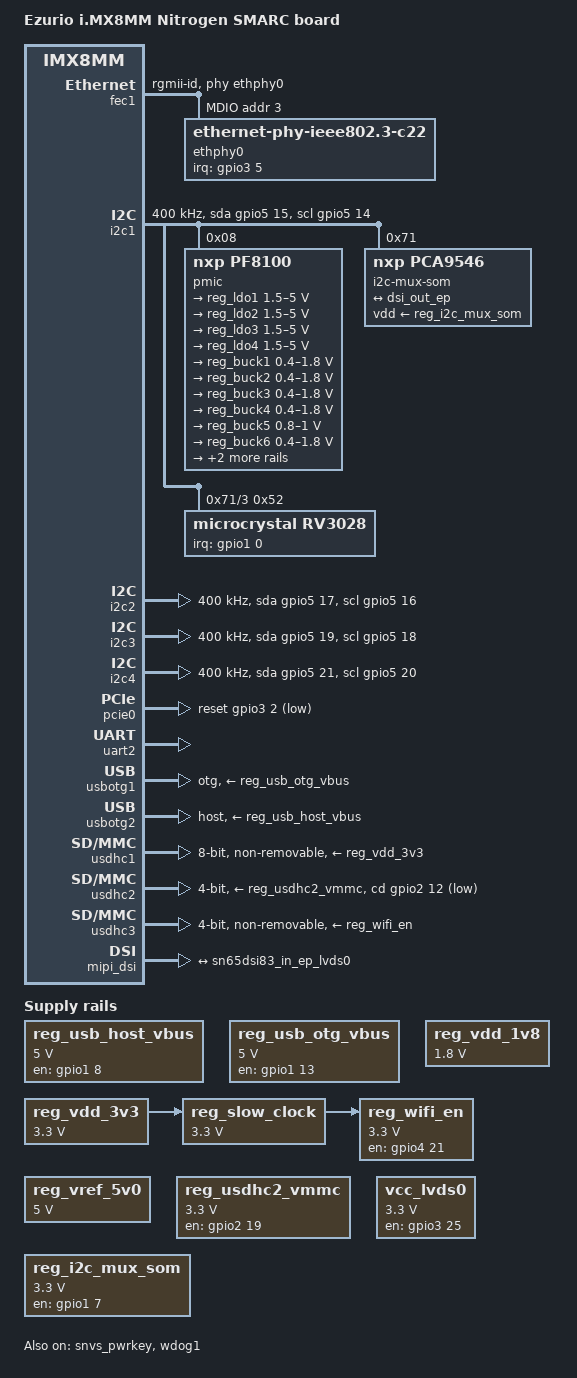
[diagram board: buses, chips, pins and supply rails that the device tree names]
// SPDX-License-Identifier: (GPL-2.0+ OR MIT)
/*
 * Copyright 2023 Ezurio LLC
 */

#include <dt-bindings/phy/phy-imx8-pcie.h>
#include <dt-bindings/usb/pd.h>
#include "imx8mm.dtsi"

/ {
	model = "Ezurio i.MX8MM Nitrogen SMARC board";
	compatible = "summit,imx8mm-nitrogen-smarc", "fsl,imx8mm";

	aliases {
		rtc0 = &rv3028;
		rtc1 = &snvs_rtc;
	};

	chosen {
		stdout-path = "serial1:115200n8";
	};

	reserved-memory {
		#address-cells = <2>;
		#size-cells = <2>;
		ranges;

		linux_cma: linux,cma {
			compatible = "shared-dma-pool";
			reusable;
			alloc-ranges = <0 0x40000000 0 0x80000000>, <1 0 0 0x80000000>;
			size = <0 0x20000000>;
			linux,cma-default;
		};
	};

	reg_usb_host_vbus: regulator-usb-host-vbus {
		compatible = "regulator-fixed";
		pinctrl-names = "default";
		pinctrl-0 = <&pinctrl_reg_usbhost_vbus>;
		regulator-name = "usb_host_vbus";
		regulator-min-microvolt = <5000000>;
		regulator-max-microvolt = <5000000>;
		gpio = <&gpio1 8 GPIO_ACTIVE_HIGH>;
		enable-active-high;
	};

	reg_usb_otg_vbus: regulator-usb-otg-vbus {
		compatible = "regulator-fixed";
		pinctrl-names = "default";
		pinctrl-0 = <&pinctrl_reg_usbotg_vbus>;
		regulator-name = "usb_otg_vbus";
		regulator-min-microvolt = <5000000>;
		regulator-max-microvolt = <5000000>;
		gpio = <&gpio1 13 GPIO_ACTIVE_HIGH>;
		enable-active-high;
	};

	reg_vdd_1v8: regulator-vref-1v8 {
		compatible = "regulator-fixed";
		regulator-name = "vref-1v8";
		regulator-min-microvolt = <1800000>;
		regulator-max-microvolt = <1800000>;
	};

	reg_vdd_3v3: regulator-vref-3v3 {
		compatible = "regulator-fixed";
		regulator-name = "vref-3v3";
		regulator-min-microvolt = <3300000>;
		regulator-max-microvolt = <3300000>;
	};

	reg_vref_5v0: regulator-vref-5v0 {
		compatible = "regulator-fixed";
		regulator-name = "vref-5v0";
		regulator-min-microvolt = <5000000>;
		regulator-max-microvolt = <5000000>;
	};

	reg_usdhc2_vmmc: regulator-usdhc2-vmmc {
		compatible = "regulator-fixed";

		regulator-name = "reg_usdhc2_vmmc";
		regulator-min-microvolt = <3300000>;
		regulator-max-microvolt = <3300000>;

		pinctrl-names = "default";
		pinctrl-0 = <&pinctrl_reg_usdhc2_vmmc>;
		gpio = <&gpio2 19 GPIO_ACTIVE_HIGH>;
		enable-active-high;
	};

	reg_slow_clock: regulator-slow-clock {
		compatible = "regulator-fixed-clock";

		regulator-name = "reg_slow_clock";
		regulator-min-microvolt = <3300000>;
		regulator-max-microvolt = <3300000>;

		vin-supply = <&reg_vdd_3v3>;
		clocks = <&rv3028>;

		pinctrl-names = "rev2";
		pinctrl-0 = <&pinctrl_slow_clock_rev2>;

		startup-delay-us = <1000>;
	};

	reg_wifi_en: regulator-wifi-en {
		compatible = "regulator-fixed";

		regulator-name = "reg_wifi_en";
		regulator-min-microvolt = <3300000>;
		regulator-max-microvolt = <3300000>;

		vin-supply = <&reg_slow_clock>;

		pinctrl-names = "default";
		pinctrl-0 = <&pinctrl_reg_wifi_en>;
		gpio = <&gpio4 21 GPIO_ACTIVE_HIGH>;
		enable-active-high;
	};

	vcc_lvds0: regulator-vcc-lvds0 {
		compatible = "regulator-fixed";
		regulator-name = "vcc_lvds0";
		regulator-min-microvolt = <3300000>;
		regulator-max-microvolt = <3300000>;

		pinctrl-names = "default";
		pinctrl-0 = <&pinctrl_vcc_lvds0>;
		gpios = <&gpio3 25 GPIO_ACTIVE_HIGH>;
		enable-active-high;

		// This delay need to account for DSI clock startup time
		// SN65DSI84 enables PLL on enable phase and waits for it to lock on 
		// DSI clock, but this clock just started a moment ago, so it is not 
		// yet stable, as such PLL cannot lock on it.
		startup-delay-us = <100000>;
	};

	reg_i2c_mux_som: regulator-i2c-mux-som {
		compatible = "regulator-fixed";

		regulator-name = "reg_i2c_mux_som";
		regulator-min-microvolt = <3300000>;
		regulator-max-microvolt = <3300000>;

		pinctrl-names = "default";
		pinctrl-0 = <&pinctrl_i2c_mux_som>;
		gpio = <&gpio1 7 GPIO_ACTIVE_HIGH>;
		enable-active-high;
	};

	display-subsystem {
		status = "disabled";
	};
};

&A53_0 {
	cpu-supply = <&reg_buck2>;
};

&A53_1 {
	cpu-supply = <&reg_buck2>;
};

&A53_2 {
	cpu-supply = <&reg_buck2>;
};

&A53_3 {
	cpu-supply = <&reg_buck2>;
};

&fec1 {
	pinctrl-names = "default";
	pinctrl-0 = <&pinctrl_fec1>;

	phy-mode = "rgmii-id";
	phy-handle = <&ethphy0>;

	status = "okay";

	mdio {
		#address-cells = <1>;
		#size-cells = <0>;

		reset-gpios = <&gpio3 15 GPIO_ACTIVE_LOW>;
		reset-delay-us = <150000>;
		reset-post-delay-us = <100>;

		ethphy0: ethernet-phy@3 {
			reg = <3>;
			compatible = "ethernet-phy-ieee802.3-c22";
			interrupts-extended = <&gpio3 5 IRQ_TYPE_LEVEL_LOW>;
		};
	};
};

&ecspi2 {
	pinctrl-names = "default";
	pinctrl-0 = <&pinctrl_ecspi2>;
	cs-gpios = <&gpio5 13 GPIO_ACTIVE_LOW>, <&gpio5 3 GPIO_ACTIVE_LOW>;

	#address-cells = <1>;
	#size-cells = <0>;
};

&flexspi {
	pinctrl-names = "default";
	pinctrl-0 = <&pinctrl_flexspi>;
	cs-gpios = <&gpio3 1 GPIO_ACTIVE_LOW>, <&gpio1 6 GPIO_ACTIVE_LOW>;

	#address-cells = <1>;
	#size-cells = <0>;
};

&i2c1 {
	pinctrl-names = "default", "gpio";
	pinctrl-0 = <&pinctrl_i2c1>;
	pinctrl-1 = <&pinctrl_i2c1_1>;
	scl-gpios = <&gpio5 14 GPIO_OPEN_DRAIN>;
	sda-gpios = <&gpio5 15 GPIO_OPEN_DRAIN>;

	clock-frequency = <400000>;
	status = "okay";

	pmic@8 {
		compatible = "nxp,pf8100";
		pinctrl-names = "default";
		pinctrl-0 = <&pinctrl_pmic>;
		reg = <0x08>;

		regulators {
			reg_ldo1: ldo1 {
				regulator-always-on;
				regulator-boot-on;
				regulator-max-microvolt = <5000000>;
				regulator-min-microvolt = <1500000>;
			};

			reg_ldo2: ldo2 {
				regulator-always-on;
				regulator-boot-on;
				regulator-max-microvolt = <5000000>;
				regulator-min-microvolt = <1500000>;
				/* vselect low is 3.3V, high is 1.8V */
			};

			reg_ldo3: ldo3 {
				regulator-max-microvolt = <5000000>;
				regulator-min-microvolt = <1500000>;
			};

			reg_ldo4: ldo4 {
				regulator-always-on;
				regulator-boot-on;
				regulator-max-microvolt = <5000000>;
				regulator-min-microvolt = <1500000>;
			};

			reg_buck1: buck1 {
				regulator-always-on;
				regulator-boot-on;
				regulator-max-microvolt = <1800000>;
				regulator-min-microvolt =  <400000>;
			};

			reg_buck2: buck2 {
				regulator-always-on;
				regulator-boot-on;
				regulator-max-microvolt = <1800000>;
				regulator-min-microvolt =  <400000>;
			};

			reg_buck3: buck3 {
				regulator-always-on;
				regulator-boot-on;
				regulator-max-microvolt = <1800000>;
				regulator-min-microvolt =  <400000>;
			};

			reg_buck4: buck4 {
				regulator-max-microvolt = <1800000>;
				regulator-min-microvolt =  <400000>;
			};

			reg_buck5: buck5 {
				regulator-always-on;
				regulator-boot-on;
				regulator-max-microvolt = <1000000>;
				regulator-min-microvolt =  <800000>;
			};

			reg_buck6: buck6 {
				regulator-always-on;
				regulator-boot-on;
				regulator-max-microvolt = <1800000>;
				regulator-min-microvolt =  <400000>;
			};

			reg_buck7: buck7 {
				regulator-always-on;
				regulator-boot-on;
				regulator-max-microvolt = <4100000>;
				regulator-min-microvolt = <1000000>;
			};

			reg_vsnvs: vsnvs {
				regulator-always-on;
				regulator-boot-on;
				regulator-max-microvolt = <3300000>;
				regulator-min-microvolt = <1800000>;
			};
		};
	};

	i2c-mux-som@71 {
		compatible = "nxp,pca9546";
		reg = <0x71>;

		vdd-supply = <&reg_i2c_mux_som>;

		#address-cells = <1>;
		#size-cells = <0>;

		i2c1a: i2c1@0 {
			/* I2C_CSI0 */
			reg = <0>;

			#address-cells = <1>;
			#size-cells = <0>;
		};

		i2c1b: i2c1@1 {
			/* I2C_LCD */
			reg = <1>;

			#address-cells = <1>;
			#size-cells = <0>;
		};

		i2c1c: i2c1@2 {
			reg = <2>;

			#address-cells = <1>;
			#size-cells = <0>;

			sn65dsi83_lvds0: sn65dsi83-lvds0@2c {
				compatible = "ti,sn65dsi83";
				reg = <0x2c>;

				vcc-supply = <&vcc_lvds0>;

				//pinctrl-names = "default";
				//pinctrl-0 = <&pinctrl_sn65dsi83_irq>;
				//interrupts-extended = <&gpio3 20 IRQ_TYPE_LEVEL_LOW>;
				//interrupt-names = "irq";

				status = "disabled";

				ports {
					#address-cells = <1>;
					#size-cells = <0>;

					port@0 {
						reg = <0>;

						sn65dsi83_in_ep_lvds0: endpoint {
							remote-endpoint = <&dsi_out_ep>;
							clock-lanes = <0>;
							data-lanes = <1 2 3 4>;
						};
					};

					port@2 {
						reg = <2>;

						sn65dsi83_out_ep_lvds0: endpoint {
						};
					};
				};
			};
		};

		i2c1d: i2c1@3 {
			/* RTC_SOM */
			reg = <3>;

			#address-cells = <1>;
			#size-cells = <0>;

			rv3028: rv3028@52 {
				compatible = "microcrystal,rv3028";
				reg = <0x52>;

				backup-switchover-dsm;
				#clock-cells = <0>;

				pinctrl-names = "default";
				pinctrl-0 = <&pinctrl_rv3028>;
				interrupts-extended = <&gpio1 0 IRQ_TYPE_LEVEL_LOW>;
				wakeup-source;
			};
		};
	};
};

/* I2C_CAM1 */
&i2c2 {
	pinctrl-names = "default", "gpio";
	pinctrl-0 = <&pinctrl_i2c2>;
	pinctrl-1 = <&pinctrl_i2c2_1>;
	scl-gpios = <&gpio5 16 GPIO_OPEN_DRAIN>;
	sda-gpios = <&gpio5 17 GPIO_OPEN_DRAIN>;

	clock-frequency = <400000>;
};

/* I2C_GP */
&i2c3 {
	pinctrl-names = "default", "gpio";
	pinctrl-0 = <&pinctrl_i2c3>;
	pinctrl-1 = <&pinctrl_i2c3_1>;
	scl-gpios = <&gpio5 18 GPIO_OPEN_DRAIN>;
	sda-gpios = <&gpio5 19 GPIO_OPEN_DRAIN>;

	clock-frequency = <400000>;
};

/* I2C_PM */
&i2c4 {
	pinctrl-names = "default", "gpio";
	pinctrl-0 = <&pinctrl_i2c4>;
	pinctrl-1 = <&pinctrl_i2c4_1>;
	scl-gpios = <&gpio5 20 GPIO_OPEN_DRAIN>;
	sda-gpios = <&gpio5 21 GPIO_OPEN_DRAIN>;

	clock-frequency = <400000>;
};

&iomuxc {
	pinctrl_ecspi2: ecspi2grp {
		fsl,pins = <
			MX8MM_IOMUXC_SPDIF_TX_GPIO5_IO3		0x140
			MX8MM_IOMUXC_ECSPI2_SS0_GPIO5_IO13	0x140
			MX8MM_IOMUXC_ECSPI2_MISO_ECSPI2_MISO	0x82
			MX8MM_IOMUXC_ECSPI2_SCLK_ECSPI2_SCLK	0x82
			MX8MM_IOMUXC_ECSPI2_MOSI_ECSPI2_MOSI	0x82
		>;
	};

	pinctrl_fec1: fec1grp {
		fsl,pins = <
			MX8MM_IOMUXC_ENET_MDC_ENET1_MDC		0x00
			MX8MM_IOMUXC_ENET_MDIO_ENET1_MDIO	0x00
			MX8MM_IOMUXC_ENET_RD0_ENET1_RGMII_RD0	0x91
			MX8MM_IOMUXC_ENET_RD1_ENET1_RGMII_RD1	0x91
			MX8MM_IOMUXC_ENET_RD2_ENET1_RGMII_RD2	0x91
			MX8MM_IOMUXC_ENET_RD3_ENET1_RGMII_RD3	0x91
			MX8MM_IOMUXC_ENET_RXC_ENET1_RGMII_RXC	0x91
			MX8MM_IOMUXC_ENET_RX_CTL_ENET1_RGMII_RX_CTL	0x91
			MX8MM_IOMUXC_ENET_TD0_ENET1_RGMII_TD0	0x10
			MX8MM_IOMUXC_ENET_TD1_ENET1_RGMII_TD1	0x10
			MX8MM_IOMUXC_ENET_TD2_ENET1_RGMII_TD2	0x10
			MX8MM_IOMUXC_ENET_TD3_ENET1_RGMII_TD3	0x10
			MX8MM_IOMUXC_ENET_TXC_ENET1_RGMII_TXC	0x12
			MX8MM_IOMUXC_ENET_TX_CTL_ENET1_RGMII_TX_CTL	0x10
			MX8MM_IOMUXC_NAND_RE_B_GPIO3_IO15	0x159
			MX8MM_IOMUXC_NAND_CLE_GPIO3_IO5		0x1c0
		>;
	};

	pinctrl_flexspi: flexspigrp {
		fsl,pins = <
			MX8MM_IOMUXC_GPIO1_IO06_GPIO1_IO6	0x140
			MX8MM_IOMUXC_NAND_CE0_B_GPIO3_IO1	0x140
			MX8MM_IOMUXC_NAND_DATA00_QSPI_A_DATA0	0x82
			MX8MM_IOMUXC_NAND_DATA01_QSPI_A_DATA1	0x82
			MX8MM_IOMUXC_NAND_DATA02_QSPI_A_DATA2	0x82
			MX8MM_IOMUXC_NAND_DATA03_QSPI_A_DATA3	0x82
			MX8MM_IOMUXC_NAND_ALE_QSPI_A_SCLK	0x82
			MX8MM_IOMUXC_NAND_DATA02_QSPI_A_DATA2	0x82
		>;
	};

	pinctrl_i2c1: i2c1grp {
		fsl,pins = <
			MX8MM_IOMUXC_I2C1_SCL_I2C1_SCL	0x400001c3
			MX8MM_IOMUXC_I2C1_SDA_I2C1_SDA	0x400001c3
		>;
	};

	pinctrl_i2c1_1: i2c1-1grp {
		fsl,pins = <
			MX8MM_IOMUXC_I2C1_SCL_GPIO5_IO14	0x1c3
			MX8MM_IOMUXC_I2C1_SDA_GPIO5_IO15	0x1c3
		>;
	};

	pinctrl_pmic: pmicgrp {
		fsl,pins = <
			MX8MM_IOMUXC_NAND_CE2_B_GPIO3_IO3	0x149
			MX8MM_IOMUXC_NAND_CE3_B_GPIO3_IO4	0x149
		>;
	};

	pinctrl_i2c_mux_som: i2c-mux-somgrp {
		fsl,pins = <
			MX8MM_IOMUXC_GPIO1_IO07_GPIO1_IO7	0x100
		>;
	};

	pinctrl_i2c2: i2c2grp {
		fsl,pins = <
			MX8MM_IOMUXC_I2C2_SCL_I2C2_SCL		0x400001c3
			MX8MM_IOMUXC_I2C2_SDA_I2C2_SDA		0x400001c3
		>;
	};

	pinctrl_i2c2_1: i2c2-1grp {
		fsl,pins = <
			MX8MM_IOMUXC_I2C2_SCL_GPIO5_IO16	0x400001c3
			MX8MM_IOMUXC_I2C2_SDA_GPIO5_IO17	0x400001c3
		>;
	};

	pinctrl_i2c3: i2c3grp {
		fsl,pins = <
			MX8MM_IOMUXC_I2C3_SCL_I2C3_SCL		0x400001c3
			MX8MM_IOMUXC_I2C3_SDA_I2C3_SDA		0x400001c3
		>;
	};

	pinctrl_i2c3_1: i2c3-1grp {
		fsl,pins = <
			MX8MM_IOMUXC_I2C3_SCL_GPIO5_IO18	0x400001c3
			MX8MM_IOMUXC_I2C3_SDA_GPIO5_IO19	0x400001c3
		>;
	};

	pinctrl_i2c4: i2c4grp {
		fsl,pins = <
			MX8MM_IOMUXC_I2C4_SCL_I2C4_SCL		0x400001c3
			MX8MM_IOMUXC_I2C4_SDA_I2C4_SDA		0x400001c3
		>;
	};

	pinctrl_i2c4_1: i2c4-1grp {
		fsl,pins = <
			MX8MM_IOMUXC_I2C4_SCL_GPIO5_IO20	0x400001c3
			MX8MM_IOMUXC_I2C4_SDA_GPIO5_IO21	0x400001c3
		>;
	};

	pinctrl_lvds0_backlight: pinctrl-lvds0-backlight-grp {
		fsl,pins = <
			MX8MM_IOMUXC_GPIO1_IO01_GPIO1_IO1	0x140
		>;
	};

	pinctrl_vcc_lvds0: vcc-lvds0grp {
		fsl,pins = <
			MX8MM_IOMUXC_SAI5_MCLK_GPIO3_IO25	0x100
		>;
	};

	pinctrl_sn65dsi83_irq: sn65dsi83-irqgrp {
		fsl,pins = <
			MX8MM_IOMUXC_SAI5_RXC_GPIO3_IO20	0x1c0
		>;
	};

	pinctrl_pcie0: pcie0grp {
		fsl,pins = <
			MX8MM_IOMUXC_NAND_CE1_B_GPIO3_IO2	0x100
			MX8MM_IOMUXC_SAI1_MCLK_GPIO4_IO20	0x140
			MX8MM_IOMUXC_SAI3_RXC_GPIO4_IO29	0x140
		>;
	};

	pinctrl_pwm1: pwm1grp {
		fsl,pins = <
			MX8MM_IOMUXC_SPDIF_EXT_CLK_PWM1_OUT	0x16
		>;
	};

	pinctrl_reg_usbotg_vbus: usbotg-vbusgrp {
		fsl,pins = <
			MX8MM_IOMUXC_GPIO1_IO13_GPIO1_IO13	0x140
		>;
	};

	pinctrl_reg_usbhost_vbus: usbhost-vbusgrp {
		fsl,pins = <
			MX8MM_IOMUXC_GPIO1_IO08_GPIO1_IO8	0x140
		>;
	};

	pinctrl_reg_wifi_en: reg-wifi-engrp {
		fsl,pins = <
			MX8MM_IOMUXC_SAI2_RXFS_GPIO4_IO21	0x100
		>;
	};

	pinctrl_sai1: sai1grp {
		fsl,pins = <
			MX8MM_IOMUXC_SAI1_TXFS_SAI1_TX_SYNC	0xd6
			MX8MM_IOMUXC_SAI1_TXC_SAI1_TX_BCLK	0xd6
			MX8MM_IOMUXC_SAI1_TXD0_SAI1_TX_DATA0	0xd6
			MX8MM_IOMUXC_SAI1_RXD0_SAI1_RX_DATA0	0xd6
		>;
	};

	pinctrl_sai2: sai2grp {
		fsl,pins = <
			MX8MM_IOMUXC_SAI2_MCLK_SAI2_MCLK	0xd6
			MX8MM_IOMUXC_SAI2_TXFS_SAI2_TX_SYNC	0xd6
			MX8MM_IOMUXC_SAI2_TXC_SAI2_TX_BCLK	0xd6
			MX8MM_IOMUXC_SAI2_TXD0_SAI2_TX_DATA0	0xd6
			MX8MM_IOMUXC_SAI2_RXD0_SAI2_RX_DATA0	0xd6
		>;
	};

	pinctrl_sai3: sai3grp {
		fsl,pins = <
			MX8MM_IOMUXC_SAI3_TXFS_SAI3_TX_SYNC	0xd6
			MX8MM_IOMUXC_SAI3_TXC_SAI3_TX_BCLK	0xd6
			MX8MM_IOMUXC_SAI3_TXD_SAI3_TX_DATA0	0xd6
			MX8MM_IOMUXC_SAI3_RXD_SAI3_RX_DATA0	0xd6
		>;
	};

	pinctrl_uart1: uart1grp {
		fsl,pins = <
			MX8MM_IOMUXC_UART1_RXD_UART1_DCE_RX	0x140
			MX8MM_IOMUXC_UART1_TXD_UART1_DCE_TX	0x140
			MX8MM_IOMUXC_UART3_RXD_UART1_DCE_CTS_B	0x140
			MX8MM_IOMUXC_UART3_TXD_UART1_DCE_RTS_B	0x140
		>;
	};

	pinctrl_uart2: uart2grp {
		fsl,pins = <
			MX8MM_IOMUXC_UART2_RXD_UART2_DCE_RX	0x140
			MX8MM_IOMUXC_UART2_TXD_UART2_DCE_TX	0x140
		>;
	};

	pinctrl_uart3: uart3grp {
		fsl,pins = <
			MX8MM_IOMUXC_ECSPI1_SCLK_UART3_DCE_RX	0x140
			MX8MM_IOMUXC_ECSPI1_MOSI_UART3_DCE_TX	0x140
			MX8MM_IOMUXC_ECSPI1_SS0_UART3_DCE_RTS_B	0x140
			MX8MM_IOMUXC_ECSPI1_MISO_UART3_DCE_CTS_B	0x140
			MX8MM_IOMUXC_GPIO1_IO05_GPIO1_IO5	0x100
			MX8MM_IOMUXC_NAND_DQS_GPIO3_IO14	0x1c0
		>;
	};

	pinctrl_uart4: uart4grp {
		fsl,pins = <
			MX8MM_IOMUXC_UART4_RXD_UART4_DCE_RX	0x140
			MX8MM_IOMUXC_UART4_TXD_UART4_DCE_TX	0x140
		>;
	};

	pinctrl_usdhc1: usdhc1grp {
		fsl,pins = <
			MX8MM_IOMUXC_SD1_CLK_USDHC1_CLK		0x190
			MX8MM_IOMUXC_SD1_CMD_USDHC1_CMD		0x1d0
			MX8MM_IOMUXC_SD1_DATA0_USDHC1_DATA0	0x1d0
			MX8MM_IOMUXC_SD1_DATA1_USDHC1_DATA1	0x1d0
			MX8MM_IOMUXC_SD1_DATA2_USDHC1_DATA2	0x1d0
			MX8MM_IOMUXC_SD1_DATA3_USDHC1_DATA3	0x1d0
			MX8MM_IOMUXC_SD1_DATA4_USDHC1_DATA4	0x1d0
			MX8MM_IOMUXC_SD1_DATA5_USDHC1_DATA5	0x1d0
			MX8MM_IOMUXC_SD1_DATA6_USDHC1_DATA6	0x1d0
			MX8MM_IOMUXC_SD1_DATA7_USDHC1_DATA7	0x1d0
			MX8MM_IOMUXC_SD1_STROBE_USDHC1_STROBE	0x190
			MX8MM_IOMUXC_SD1_RESET_B_USDHC1_RESET_B	0x1d1
		>;
	};

	pinctrl_usdhc1_100mhz: usdhc1-100mhzgrp {
		fsl,pins = <
			MX8MM_IOMUXC_SD1_CLK_USDHC1_CLK		0x194
			MX8MM_IOMUXC_SD1_CMD_USDHC1_CMD		0x1d4
			MX8MM_IOMUXC_SD1_DATA0_USDHC1_DATA0	0x1d4
			MX8MM_IOMUXC_SD1_DATA1_USDHC1_DATA1	0x1d4
			MX8MM_IOMUXC_SD1_DATA2_USDHC1_DATA2	0x1d4
			MX8MM_IOMUXC_SD1_DATA3_USDHC1_DATA3	0x1d4
			MX8MM_IOMUXC_SD1_DATA4_USDHC1_DATA4	0x1d4
			MX8MM_IOMUXC_SD1_DATA5_USDHC1_DATA5	0x1d4
			MX8MM_IOMUXC_SD1_DATA6_USDHC1_DATA6	0x1d4
			MX8MM_IOMUXC_SD1_DATA7_USDHC1_DATA7	0x1d4
			MX8MM_IOMUXC_SD1_STROBE_USDHC1_STROBE	0x194
			MX8MM_IOMUXC_SD1_RESET_B_USDHC1_RESET_B	0x1d1
		>;
	};

	pinctrl_usdhc1_200mhz: usdhc1-200mhzgrp {
		fsl,pins = <
			MX8MM_IOMUXC_SD1_CLK_USDHC1_CLK		0x196
			MX8MM_IOMUXC_SD1_CMD_USDHC1_CMD		0x1d6
			MX8MM_IOMUXC_SD1_DATA0_USDHC1_DATA0	0x1d6
			MX8MM_IOMUXC_SD1_DATA1_USDHC1_DATA1	0x1d6
			MX8MM_IOMUXC_SD1_DATA2_USDHC1_DATA2	0x1d6
			MX8MM_IOMUXC_SD1_DATA3_USDHC1_DATA3	0x1d6
			MX8MM_IOMUXC_SD1_DATA4_USDHC1_DATA4	0x1d6
			MX8MM_IOMUXC_SD1_DATA5_USDHC1_DATA5	0x1d6
			MX8MM_IOMUXC_SD1_DATA6_USDHC1_DATA6	0x1d6
			MX8MM_IOMUXC_SD1_DATA7_USDHC1_DATA7	0x1d6
			MX8MM_IOMUXC_SD1_STROBE_USDHC1_STROBE	0x196
			MX8MM_IOMUXC_SD1_RESET_B_USDHC1_RESET_B	0x1d1
		>;
	};

	pinctrl_usdhc2: usdhc2grp {
		fsl,pins = <
			MX8MM_IOMUXC_SD2_CLK_USDHC2_CLK	0x190
			MX8MM_IOMUXC_SD2_CMD_USDHC2_CMD	0x1d0
			MX8MM_IOMUXC_SD2_DATA0_USDHC2_DATA0	0x1d0
			MX8MM_IOMUXC_SD2_DATA1_USDHC2_DATA1	0x1d0
			MX8MM_IOMUXC_SD2_DATA2_USDHC2_DATA2	0x1d0
			MX8MM_IOMUXC_SD2_DATA3_USDHC2_DATA3	0x1d0
			MX8MM_IOMUXC_SD2_CD_B_GPIO2_IO12	0x1c4
			MX8MM_IOMUXC_GPIO1_IO04_USDHC2_VSELECT	0xc0
		>;
	};

	pinctrl_usdhc2_100mhz: usdhc2grp100mhz {
		fsl,pins = <
			MX8MM_IOMUXC_SD2_CLK_USDHC2_CLK	0x194
			MX8MM_IOMUXC_SD2_CMD_USDHC2_CMD	0x1d4
			MX8MM_IOMUXC_SD2_DATA0_USDHC2_DATA0	0x1d4
			MX8MM_IOMUXC_SD2_DATA1_USDHC2_DATA1	0x1d4
			MX8MM_IOMUXC_SD2_DATA2_USDHC2_DATA2	0x1d4
			MX8MM_IOMUXC_SD2_DATA3_USDHC2_DATA3	0x1d4
			MX8MM_IOMUXC_SD2_CD_B_GPIO2_IO12	0x1c4
			MX8MM_IOMUXC_GPIO1_IO04_USDHC2_VSELECT	0xc0
		>;
	};

	pinctrl_usdhc2_200mhz: usdhc2grp200mhz {
		fsl,pins = <
			MX8MM_IOMUXC_SD2_CLK_USDHC2_CLK	0x196
			MX8MM_IOMUXC_SD2_CMD_USDHC2_CMD	0x1d6
			MX8MM_IOMUXC_SD2_DATA0_USDHC2_DATA0	0x1d6
			MX8MM_IOMUXC_SD2_DATA1_USDHC2_DATA1	0x1d6
			MX8MM_IOMUXC_SD2_DATA2_USDHC2_DATA2	0x1d6
			MX8MM_IOMUXC_SD2_DATA3_USDHC2_DATA3	0x1d6
			MX8MM_IOMUXC_SD2_CD_B_GPIO2_IO12	0x1c4
			MX8MM_IOMUXC_GPIO1_IO04_USDHC2_VSELECT	0xc0
		>;
	};

	pinctrl_usdhc3: usdhc3grp {
		fsl,pins = <
			MX8MM_IOMUXC_NAND_WE_B_USDHC3_CLK	0x190
			MX8MM_IOMUXC_NAND_WP_B_USDHC3_CMD	0x1d0
			MX8MM_IOMUXC_NAND_DATA04_USDHC3_DATA0	0x1d0
			MX8MM_IOMUXC_NAND_DATA05_USDHC3_DATA1	0x1d0
			MX8MM_IOMUXC_NAND_DATA06_USDHC3_DATA2	0x1d0
			MX8MM_IOMUXC_NAND_DATA07_USDHC3_DATA3	0x1d0
		>;
	};

	pinctrl_usdhc3_100mhz: usdhc3-100mhzgrp {
		fsl,pins = <
			MX8MM_IOMUXC_NAND_WE_B_USDHC3_CLK	0x194
			MX8MM_IOMUXC_NAND_WP_B_USDHC3_CMD	0x1d4
			MX8MM_IOMUXC_NAND_DATA04_USDHC3_DATA0	0x1d4
			MX8MM_IOMUXC_NAND_DATA05_USDHC3_DATA1	0x1d4
			MX8MM_IOMUXC_NAND_DATA06_USDHC3_DATA2	0x1d4
			MX8MM_IOMUXC_NAND_DATA07_USDHC3_DATA3	0x1d4
		>;
	};

	pinctrl_usdhc3_200mhz: usdhc3-200mhzgrp {
		fsl,pins = <
			MX8MM_IOMUXC_NAND_WE_B_USDHC3_CLK	0x196
			MX8MM_IOMUXC_NAND_WP_B_USDHC3_CMD	0x1d6
			MX8MM_IOMUXC_NAND_DATA04_USDHC3_DATA0	0x1d6
			MX8MM_IOMUXC_NAND_DATA05_USDHC3_DATA1	0x1d6
			MX8MM_IOMUXC_NAND_DATA06_USDHC3_DATA2	0x1d6
			MX8MM_IOMUXC_NAND_DATA07_USDHC3_DATA3	0x1d6
		>;
	};

	pinctrl_reg_usdhc2_vmmc: reg-usdhc2-vmmcgrp {
		fsl,pins = <
			MX8MM_IOMUXC_SD2_RESET_B_GPIO2_IO19	0x100
		>;
	};

	pinctrl_wdog: wdoggrp {
		fsl,pins = <
			MX8MM_IOMUXC_GPIO1_IO02_WDOG1_WDOG_B	0x140
		>;
	};

	pinctrl_rv3028: rv3028grp {
		fsl,pins = <
			MX8MM_IOMUXC_GPIO1_IO00_GPIO1_IO0	0x1c0
		>;
	};

	// used on rev2 modules
	pinctrl_slow_clock_rev2: slow-clock-rev2grp {
		fsl,pins = <
			MX8MM_IOMUXC_GPIO1_IO00_ANAMIX_REF_CLK_32K	0x03
		>;
	};
};

&pcie0 {
	assigned-clocks = <&clk IMX8MM_CLK_PCIE1_AUX>,
			  <&clk IMX8MM_CLK_PCIE1_CTRL>;
	assigned-clock-parents = <&clk IMX8MM_SYS_PLL2_50M>,
				 <&clk IMX8MM_SYS_PLL2_250M>;
	assigned-clock-rates = <10000000>, <250000000>;
	clocks = <&clk IMX8MM_CLK_PCIE1_ROOT>,
		 <&clk IMX8MM_CLK_PCIE1_AUX>,
		 <&clk IMX8MM_CLK_PCIE1_PHY>;
	clock-names = "pcie", "pcie_aux", "pcie_bus";

	pinctrl-names = "default";
	pinctrl-0 = <&pinctrl_pcie0>;
	reset-gpio = <&gpio3 2 GPIO_ACTIVE_LOW>;
};

&pcie_phy {
	clocks = <&clk IMX8MM_CLK_PCIE1_PHY>;
	clock-names = "ref";
	fsl,clkreq-unsupported;
	fsl,refclk-pad-mode = <IMX8_PCIE_REFCLK_PAD_OUTPUT>;
	fsl,tx-deemph-gen1 = <0x2d>;
	fsl,tx-deemph-gen2 = <0xf>;
};

/* I2S1 */
&sai1 {
	pinctrl-names = "default";
	pinctrl-0 = <&pinctrl_sai1>;
};

/* I2S0 */
&sai2 {
	pinctrl-names = "default";
	pinctrl-0 = <&pinctrl_sai2>;
};

/* BT PCM */
&sai3 {
	pinctrl-names = "default";
	pinctrl-0 = <&pinctrl_sai3>;
};

&snvs_pwrkey {
	status = "okay";
};

&uart1 {
	pinctrl-names = "default";
	pinctrl-0 = <&pinctrl_uart1>;

	assigned-clocks = <&clk IMX8MM_CLK_UART1>;
	assigned-clock-parents = <&clk IMX8MM_SYS_PLL1_80M>;

	uart-has-rtscts;
};

&uart2 { /* console */
	pinctrl-names = "default";
	pinctrl-0 = <&pinctrl_uart2>;

	status = "okay";
};

&uart3 { /* BT */
	pinctrl-names = "default";
	pinctrl-0 = <&pinctrl_uart3>;

	assigned-clocks = <&clk IMX8MM_CLK_UART3>;
	assigned-clock-parents = <&clk IMX8MM_SYS_PLL1_80M>;

	uart-has-rtscts;
};

&uart4 {
	pinctrl-names = "default";
	pinctrl-0 = <&pinctrl_uart4>;
};

&usbotg1 {
	dr_mode = "otg";
	disable-over-current;
	power-active-high;
	vbus-supply = <&reg_usb_otg_vbus>;
};

&usbotg2 {
	dr_mode = "host";
	disable-over-current;
	power-active-high;
	vbus-supply = <&reg_usb_host_vbus>;
};

&usdhc1 { /* eMMC */
	pinctrl-names = "default", "state_100mhz", "state_200mhz";
	pinctrl-0 = <&pinctrl_usdhc1>;
	pinctrl-1 = <&pinctrl_usdhc1_100mhz>;
	pinctrl-2 = <&pinctrl_usdhc1_200mhz>;

	vmmc-supply = <&reg_vdd_3v3>;

	bus-width = <8>;
	non-removable;

	status = "okay";
};

&usdhc2 { /* SD CARD */
	pinctrl-names = "default", "state_100mhz", "state_200mhz";
	pinctrl-0 = <&pinctrl_usdhc2>;
	pinctrl-1 = <&pinctrl_usdhc2_100mhz>;
	pinctrl-2 = <&pinctrl_usdhc2_200mhz>;

	vmmc-supply = <&reg_usdhc2_vmmc>;

	bus-width = <4>;
	cd-gpios = <&gpio2 12 GPIO_ACTIVE_LOW>;
};

&usdhc3 { /* WI-FI */ 
	pinctrl-names = "default", "state_100mhz", "state_200mhz";
	pinctrl-0 = <&pinctrl_usdhc3>;
	pinctrl-1 = <&pinctrl_usdhc3_100mhz>;
	pinctrl-2 = <&pinctrl_usdhc3_200mhz>;

	vmmc-supply = <&reg_wifi_en>;

	bus-width = <4>;
	non-removable;
	keep-power-in-suspend;
};

&mipi_dsi {
	port@1 {
		dsi_out_ep: endpoint {
			remote-endpoint = <&sn65dsi83_in_ep_lvds0>;
			attach-bridge;
		};
	};
};

&pwm1 {
	pinctrl-names = "default";
	pinctrl-0 = <&pinctrl_pwm1>;
};

&wdog1 {
	pinctrl-names = "default";
	pinctrl-0 = <&pinctrl_wdog>;
	fsl,ext-reset-output;
	status = "okay";
};
